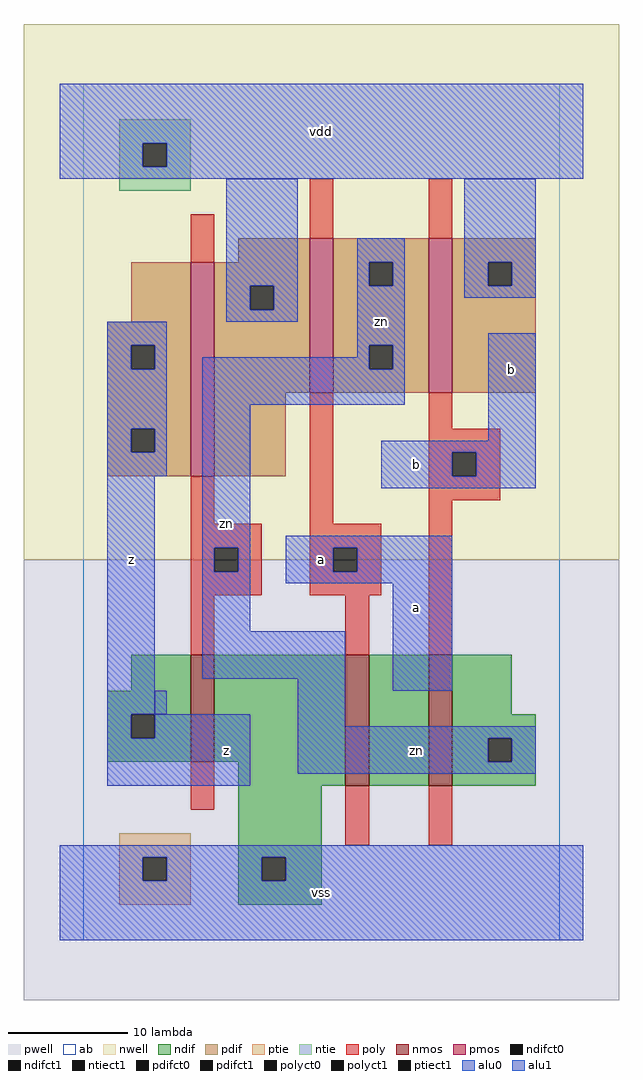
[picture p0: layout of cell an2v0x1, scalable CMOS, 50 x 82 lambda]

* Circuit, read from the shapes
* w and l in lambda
.subckt an2v0x1 a b vdd vss z zn
M1 vss zn z vss nfet w=9 l=2
M2 n1 a vss vss nfet w=11 l=2
M3 zn b n1 vss nfet w=11 l=2
M4 vdd zn z vdd pfet w=18 l=2
M5 zn a vdd vdd pfet w=13 l=2
M6 vdd b zn vdd pfet w=13 l=2
.ends

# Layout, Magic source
magic
tech scmos
<< ab >>
rect 0 0 40 72
<< nwell >>
rect -5 32 45 77
<< pwell >>
rect -5 -5 45 32
<< poly >>
rect 9 57 11 61
rect 19 59 21 64
rect 29 59 31 64
rect 9 35 11 39
rect 19 35 21 46
rect 29 43 31 46
rect 29 41 35 43
rect 29 39 31 41
rect 33 39 35 41
rect 29 37 35 39
rect 9 33 15 35
rect 9 31 11 33
rect 13 31 15 33
rect 9 29 15 31
rect 19 33 25 35
rect 19 31 21 33
rect 23 31 25 33
rect 19 29 25 31
rect 9 24 11 29
rect 22 24 24 29
rect 29 24 31 37
rect 9 11 11 15
rect 22 8 24 13
rect 29 8 31 13
<< ndif >>
rect 4 21 9 24
rect 2 19 9 21
rect 2 17 4 19
rect 6 17 9 19
rect 2 15 9 17
rect 11 15 22 24
rect 13 13 22 15
rect 24 13 29 24
rect 31 19 36 24
rect 31 17 38 19
rect 31 15 34 17
rect 36 15 38 17
rect 31 13 38 15
rect 13 7 20 13
rect 13 5 15 7
rect 17 5 20 7
rect 13 3 20 5
<< pdif >>
rect 13 57 19 59
rect 4 52 9 57
rect 2 50 9 52
rect 2 48 4 50
rect 6 48 9 50
rect 2 43 9 48
rect 2 41 4 43
rect 6 41 9 43
rect 2 39 9 41
rect 11 55 19 57
rect 11 53 14 55
rect 16 53 19 55
rect 11 46 19 53
rect 21 57 29 59
rect 21 55 24 57
rect 26 55 29 57
rect 21 50 29 55
rect 21 48 24 50
rect 26 48 29 50
rect 21 46 29 48
rect 31 57 38 59
rect 31 55 34 57
rect 36 55 38 57
rect 31 46 38 55
rect 11 39 17 46
<< alu1 >>
rect -2 67 42 72
rect -2 65 5 67
rect 7 65 42 67
rect -2 64 42 65
rect 2 50 7 52
rect 2 48 4 50
rect 6 48 7 50
rect 2 43 7 48
rect 2 41 4 43
rect 6 41 7 43
rect 2 39 7 41
rect 2 19 6 39
rect 34 42 38 51
rect 25 41 38 42
rect 25 39 31 41
rect 33 39 38 41
rect 25 38 38 39
rect 17 33 31 34
rect 17 31 21 33
rect 23 31 31 33
rect 17 30 31 31
rect 2 17 4 19
rect 6 17 14 19
rect 2 13 14 17
rect 26 21 31 30
rect -2 7 42 8
rect -2 5 5 7
rect 7 5 15 7
rect 17 5 42 7
rect -2 0 42 5
<< ptie >>
rect 3 7 9 9
rect 3 5 5 7
rect 7 5 9 7
rect 3 3 9 5
<< ntie >>
rect 3 67 9 69
rect 3 65 5 67
rect 7 65 9 67
rect 3 63 9 65
<< nmos >>
rect 9 15 11 24
rect 22 13 24 24
rect 29 13 31 24
<< pmos >>
rect 9 39 11 57
rect 19 46 21 59
rect 29 46 31 59
<< polyct0 >>
rect 11 31 13 33
<< polyct1 >>
rect 31 39 33 41
rect 21 31 23 33
<< ndifct0 >>
rect 34 15 36 17
<< ndifct1 >>
rect 4 17 6 19
rect 15 5 17 7
<< ntiect1 >>
rect 5 65 7 67
<< ptiect1 >>
rect 5 5 7 7
<< pdifct0 >>
rect 14 53 16 55
rect 24 55 26 57
rect 24 48 26 50
rect 34 55 36 57
<< pdifct1 >>
rect 4 48 6 50
rect 4 41 6 43
<< alu0 >>
rect 12 55 18 64
rect 12 53 14 55
rect 16 53 18 55
rect 12 52 18 53
rect 23 57 27 59
rect 23 55 24 57
rect 26 55 27 57
rect 23 50 27 55
rect 32 57 38 64
rect 32 55 34 57
rect 36 55 38 57
rect 32 54 38 55
rect 23 49 24 50
rect 10 48 24 49
rect 26 48 27 50
rect 10 45 27 48
rect 10 33 14 45
rect 10 31 11 33
rect 13 31 14 33
rect 10 26 14 31
rect 10 22 22 26
rect 6 19 7 21
rect 18 18 22 22
rect 18 17 38 18
rect 18 15 34 17
rect 36 15 38 17
rect 18 14 38 15
<< labels >>
rlabel alu0 12 35 12 35 6 zn
rlabel alu0 28 16 28 16 6 zn
rlabel alu0 25 52 25 52 6 zn
rlabel alu1 4 32 4 32 6 z
rlabel alu1 12 16 12 16 6 z
rlabel alu1 20 4 20 4 6 vss
rlabel alu1 20 32 20 32 6 a
rlabel alu1 28 28 28 28 6 a
rlabel alu1 28 40 28 40 6 b
rlabel alu1 20 68 20 68 6 vdd
rlabel alu1 36 48 36 48 6 b
<< end >>
